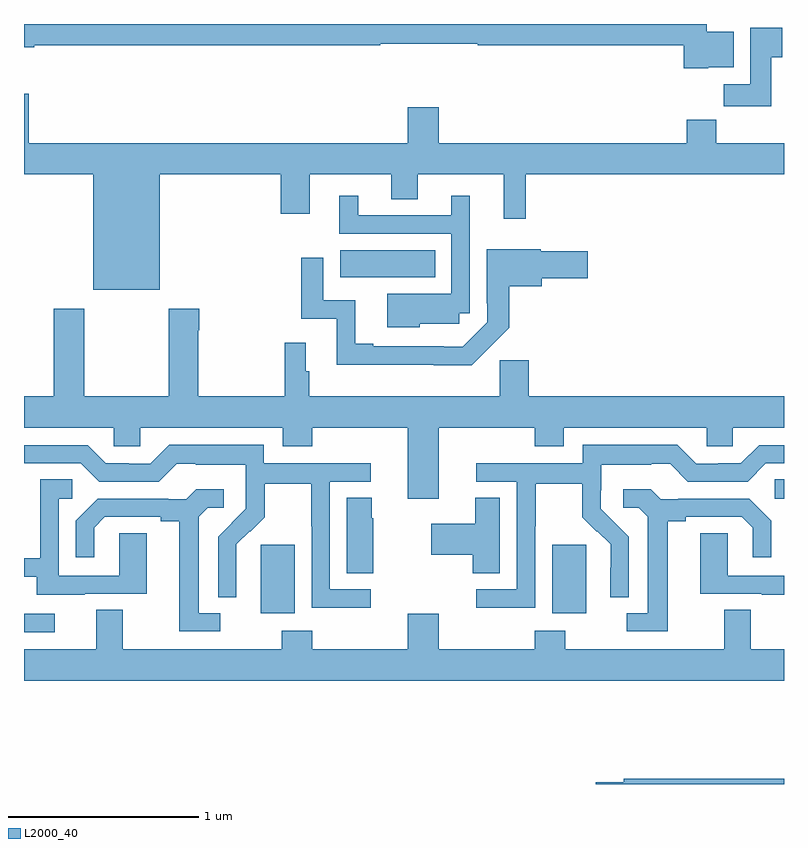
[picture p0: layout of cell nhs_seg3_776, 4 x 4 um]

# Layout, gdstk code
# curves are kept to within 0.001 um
import gdstk
lib = gdstk.Library(unit=1e-6, precision=1e-09)
def R(c, l, rs):  # rectangles x0, y0, x1, y1
    for r in rs: c.add(gdstk.rectangle(r[:2], r[2:], *l))
def P(c, l, *ps):  # polygons
    for p in ps: c.add(gdstk.Polygon(p, *l))
L2000_40 = (2000, 40)

nhs_seg3_776 = lib.new_cell('nhs_seg3_776')
R(nhs_seg3_776, L2000_40, [(151,673.2,151.162,673.296), (152.246,673.298,152.425,673.659), (153.779,673.298,153.958,673.659), (154.95,673.902,155,674.003), (152.664,675.068,153.164,675.208)])
P(nhs_seg3_776, L2000_40, [(154.602,676.172),(154.735,676.172),(154.735,676.36),(154.594,676.36),(154.594,676.4),(151,676.4),(151,676.277),(151.054,676.277),(151.054,676.288),(152.875,676.288),(152.875,676.296),(153.388,676.296),(153.388,676.288),(154.472,676.288),(154.472,676.166),(154.602,676.166)],
  [(154.933,676.225),(154.99,676.225),(154.99,676.381),(154.823,676.381),(154.823,676.084),(154.684,676.084),(154.684,675.966),(154.933,675.966)],
  [(153.524,675.375),(153.641,675.375),(153.641,675.608),(155,675.608),(155,675.772),(154.643,675.772),(154.643,675.896),(154.487,675.896),(154.487,675.772),(153.184,675.772),(153.184,675.961),(153.02,675.961),(153.02,675.772),(151.025,675.772),(151.025,676.033),(151,676.033),(151,675.608),(151.364,675.608),(151.364,675.002),(151.714,675.002),(151.714,675.608),(152.351,675.608),(152.351,675.402),(152.503,675.402),(152.503,675.608),(152.933,675.608),(152.933,675.478),(153.073,675.478),(153.073,675.608),(153.524,675.608)],
  [(153.084,674.822),(153.291,674.822),(153.291,674.877),(153.345,674.877),(153.345,675.496),(153.248,675.496),(153.248,675.393),(152.758,675.393),(152.758,675.496),(152.66,675.496),(152.66,675.297),(153.249,675.297),(153.249,674.98),(152.912,674.98),(152.912,674.804),(153.084,674.804)],
  [(153.554,674.801),(153.554,675.02),(153.724,675.02),(153.724,675.062),(153.967,675.062),(153.967,675.204),(153.72,675.204),(153.72,675.214),(153.435,675.214),(153.435,674.929),(153.438,674.929),(153.438,674.829),(153.31,674.701),(153.209,674.701),(153.209,674.703),(152.839,674.703),(152.839,674.716),(152.743,674.716),(152.743,674.946),(152.574,674.946),(152.574,675.169),(152.458,675.169),(152.458,674.85),(152.645,674.85),(152.645,674.606),(153.157,674.606),(153.157,674.604),(153.356,674.604)],
  [(153.184,674.276),(153.689,674.276),(153.689,674.177),(153.841,674.177),(153.841,674.276),(154.593,674.276),(154.593,674.178),(154.731,674.178),(154.731,674.276),(155,674.276),(155,674.44),(153.656,674.44),(153.656,674.631),(153.505,674.631),(153.505,674.44),(152.501,674.44),(152.501,674.573),(152.482,674.573),(152.482,674.722),(152.373,674.722),(152.373,674.44),(151.917,674.44),(151.917,674.789),(151.922,674.789),(151.922,674.902),(151.762,674.902),(151.762,674.44),(151.317,674.44),(151.317,674.902),(151.157,674.902),(151.157,674.44),(151,674.44),(151,674.276),(151.473,674.276),(151.473,674.178),(151.611,674.178),(151.611,674.276),(152.363,674.276),(152.363,674.177),(152.516,674.177),(152.516,674.276),(153.02,674.276),(153.02,673.902),(153.184,673.902)],
  [(153.69,673.756),(153.693,673.756),(153.693,673.98),(153.937,673.98),(153.937,673.805),(154.014,673.728),(154.017,673.731),(154.088,673.661),(154.088,673.538),(154.086,673.538),(154.086,673.384),(154.182,673.384),(154.182,673.702),(154.036,673.85),(154.036,673.947),(154.038,673.947),(154.038,674.081),(154.301,674.081),(154.301,674.085),(154.401,674.085),(154.494,673.992),(154.809,673.992),(154.905,674.088),(155,674.088),(155,674.184),(154.869,674.184),(154.773,674.088),(154.655,674.088),(154.655,674.085),(154.539,674.085),(154.439,674.185),(153.942,674.185),(153.942,674.088),(153.381,674.088),(153.381,673.992),(153.594,673.992),(153.594,673.425),(153.381,673.425),(153.381,673.327),(153.69,673.327)],
  [(152.824,673.425),(152.61,673.425),(152.61,673.992),(152.824,673.992),(152.824,674.088),(152.262,674.088),(152.262,674.185),(151.765,674.185),(151.665,674.085),(151.55,674.085),(151.55,674.088),(151.431,674.088),(151.335,674.184),(151,674.184),(151,674.088),(151.299,674.088),(151.395,673.992),(151.71,673.992),(151.803,674.085),(151.903,674.085),(151.903,674.081),(152.166,674.081),(152.166,673.947),(152.168,673.947),(152.168,673.85),(152.022,673.702),(152.022,673.384),(152.118,673.384),(152.117,673.661),(152.187,673.731),(152.19,673.728),(152.267,673.805),(152.267,673.98),(152.512,673.98),(152.512,673.756),(152.514,673.756),(152.514,673.327),(152.824,673.327)],
  [(151.321,673.401),(151.645,673.401),(151.645,673.721),(151.5,673.721),(151.5,673.497),(151.182,673.497),(151.182,673.902),(151.255,673.902),(151.255,674.003),(151.086,674.003),(151.086,673.587),(151,673.587),(151,673.491),(151.067,673.491),(151.067,673.397),(151.321,673.397)],
  [(154.387,673.784),(154.483,673.784),(154.483,673.806),(154.778,673.806),(154.835,673.749),(154.835,673.593),(154.932,673.593),(154.932,673.786),(154.816,673.902),(154.444,673.902),(154.444,673.899),(154.35,673.899),(154.298,673.951),(154.155,673.951),(154.155,673.854),(154.236,673.854),(154.283,673.807),(154.283,673.299),(154.173,673.299),(154.173,673.203),(154.387,673.203)],
  [(152.032,673.299),(151.921,673.299),(151.921,673.807),(151.968,673.854),(152.05,673.854),(152.05,673.951),(151.906,673.951),(151.854,673.899),(151.76,673.899),(151.76,673.902),(151.388,673.902),(151.272,673.786),(151.272,673.593),(151.369,673.593),(151.369,673.749),(151.426,673.806),(151.721,673.806),(151.721,673.784),(151.817,673.784),(151.817,673.203),(152.032,673.203)],
  [(153.505,673.907),(153.374,673.907),(153.374,673.771),(153.144,673.771),(153.144,673.606),(153.362,673.606),(153.362,673.51),(153.505,673.51)],
  [(152.838,673.799),(152.83,673.799),(152.83,673.907),(152.699,673.907),(152.699,673.51),(152.838,673.51)],
  [(155,673.497),(154.704,673.497),(154.704,673.721),(154.559,673.721),(154.559,673.401),(154.883,673.401),(154.883,673.397),(155,673.397)],
  [(155,673.108),(154.825,673.108),(154.825,673.316),(154.685,673.316),(154.685,673.108),(153.849,673.108),(153.849,673.207),(153.689,673.207),(153.689,673.108),(153.184,673.108),(153.184,673.297),(153.02,673.297),(153.02,673.108),(152.516,673.108),(152.516,673.207),(152.356,673.207),(152.356,673.108),(151.519,673.108),(151.519,673.316),(151.379,673.316),(151.379,673.108),(151,673.108),(151,672.944),(155,672.944)],
  [(155,672.428),(154.156,672.428),(154.156,672.408),(154.01,672.408),(154.01,672.4),(155,672.4)])

lib.write_gds('nhs_seg3_776.gds')
